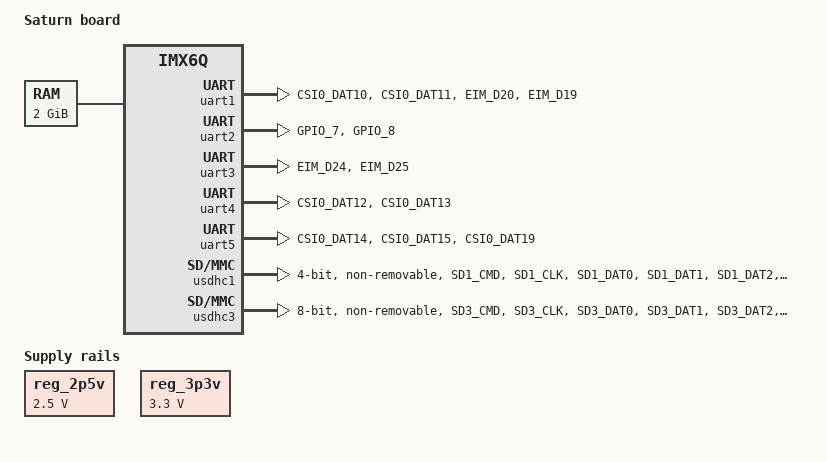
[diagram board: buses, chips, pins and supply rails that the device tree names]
/dts-v1/;
#include "imx6q.dtsi"
#include <dt-bindings/gpio/gpio.h>

/ {
	model = "Saturn board";
	compatible = "fsl,imx6q";

	memory {
		reg = <0x10000000 0x80000000>;
	};

    regulators {
	compatible = "simple-bus";
	#address-cells = <1>;
	#size-cells = <0>;

		reg_2p5v: regulator@0 {
			compatible = "regulator-fixed";
			reg = <0>;
			regulator-name = "2P5V";
			regulator-min-microvolt = <2500000>;
			regulator-max-microvolt = <2500000>;
			regulator-always-on;
		};

		reg_3p3v: regulator@1 {
			compatible = "regulator-fixed";
			reg = <1>;
			regulator-name = "3P3V";
			regulator-min-microvolt = <3300000>;
			regulator-max-microvolt = <3300000>;
			regulator-always-on;
		};
	};

};

&iomuxc {
	pinctrl-names = "default";

	imx6qdl-saturn {

        pinctrl_uart1: uart1grp {
			fsl,pins = <
				MX6QDL_PAD_CSI0_DAT10__UART1_TX_DATA	0x1b0b1
				MX6QDL_PAD_CSI0_DAT11__UART1_RX_DATA	0x1b0b1
				MX6QDL_PAD_EIM_D20__UART1_RTS_B			0x1b0b1
				MX6QDL_PAD_EIM_D19__UART1_CTS_B			0x1b0b1
			>;
		};
		
		pinctrl_uart2: uart2grp {
			fsl,pins = <
				MX6QDL_PAD_GPIO_7__UART2_TX_DATA	    0x1b0b1
				MX6QDL_PAD_GPIO_8__UART2_RX_DATA		0x1b0b1
			>;
		};
		
		pinctrl_uart3: uart3grp {
			fsl,pins = <
				MX6QDL_PAD_EIM_D24__UART3_TX_DATA	0x1b0b1
				MX6QDL_PAD_EIM_D25__UART3_RX_DATA	0x1b0b1
			>;
		};
		
		pinctrl_uart4: uart4grp {
			fsl,pins = <
				MX6QDL_PAD_CSI0_DAT12__UART4_TX_DATA	0x1b0b1
				MX6QDL_PAD_CSI0_DAT13__UART4_RX_DATA	0x1b0b1
			>;
		};
		
		pinctrl_uart5: uart5grp {
			fsl,pins = <
				MX6QDL_PAD_CSI0_DAT14__UART5_TX_DATA	0x1b0b1
				MX6QDL_PAD_CSI0_DAT15__UART5_RX_DATA	0x1b0b1
				//MX6QDL_PAD_EIM_D19__UART1_CTS_B		0x1b0b1
				MX6QDL_PAD_CSI0_DAT19__GPIO6_IO05		0x1b0b1
			>;
		};

		pinctrl_usdhc1: usdhc1grp {
			fsl,pins = <
				MX6QDL_PAD_SD1_CMD__SD1_CMD			0x17059
				MX6QDL_PAD_SD1_CLK__SD1_CLK			0x10059
				MX6QDL_PAD_SD1_DAT0__SD1_DATA0		0x17059
				MX6QDL_PAD_SD1_DAT1__SD1_DATA1		0x17059
				MX6QDL_PAD_SD1_DAT2__SD1_DATA2		0x17059
				MX6QDL_PAD_SD1_DAT3__SD1_DATA3		0x17059
				MX6QDL_PAD_GPIO_1__SD1_CD_B			0x17059
				MX6QDL_PAD_GPIO_9__SD1_WP			0x17059
			>;
		};

		pinctrl_usdhc3: usdhc3grp {
			fsl,pins = <
				MX6QDL_PAD_SD3_CMD__SD3_CMD			0x17059
				MX6QDL_PAD_SD3_CLK__SD3_CLK			0x10059
				MX6QDL_PAD_SD3_DAT0__SD3_DATA0		0x17059
				MX6QDL_PAD_SD3_DAT1__SD3_DATA1		0x17059
				MX6QDL_PAD_SD3_DAT2__SD3_DATA2		0x17059
				MX6QDL_PAD_SD3_DAT3__SD3_DATA3		0x17059
				MX6QDL_PAD_SD3_DAT4__SD3_DATA4		0x17059
				MX6QDL_PAD_SD3_DAT5__SD3_DATA5		0x17059
				MX6QDL_PAD_SD3_DAT6__SD3_DATA6		0x17059
				MX6QDL_PAD_SD3_DAT7__SD3_DATA7		0x17059
				MX6QDL_PAD_SD3_RST__SD3_RESET		0x17059
				MX6QDL_PAD_GPIO_18__SD3_VSELECT		0x17059
			>;
		};
		
		pinctrl_stim300: stim300grp {
			fsl,pins = <
				MX6QDL_PAD_EIM_BCLK__GPIO6_IO31		0x180B1 //TOV - input
				MX6QDL_PAD_GPIO_19__GPIO4_IO05 		0x180B1 //ExtTrig - output. 1
				MX6QDL_PAD_DISP0_DAT9__GPIO4_IO30   0x180B1 //Reset - output.   1
			>;
		};
		
		pinctrl_gps: gpsgrp {
			fsl,pins = <
				MX6QDL_PAD_DISP0_DAT12__GPIO5_IO06  0x180B1 //PPS_1 input
				MX6QDL_PAD_DISP0_DAT13__GPIO5_IO07  0x180B1 //PPS_2 input
			>;
		};
		
		pinctrl_misc_gpios: miscgpios {
			fsl,pins = <
				MX6QDL_PAD_DISP0_DAT14__GPIO5_IO08 0x180B1 //OUT_IO_1 1<<16 | 2<<6|6<<3|1<<0|2<<14
				MX6QDL_PAD_DISP0_DAT15__GPIO5_IO09 0x180B1 //OUT_IO_2
				MX6QDL_PAD_DISP0_DAT16__GPIO5_IO10 0x180B1 //OUT_IO_3
				MX6QDL_PAD_DISP0_DAT17__GPIO5_IO11 0x180B1 //OUT_IO_4
				MX6QDL_PAD_DISP0_DAT18__GPIO5_IO12 0x180B1 //OUT_RST
				
				MX6QDL_PAD_EIM_A25__GPIO5_IO02 0x180B1 //mpu9250 int
				MX6QDL_PAD_EIM_D23__GPIO3_IO23 0x180B1 //fsync
				
				MX6QDL_PAD_DISP0_DAT5__GPIO4_IO26 0x180B1 //ADIS DIO1
				MX6QDL_PAD_DISP0_DAT6__GPIO4_IO27 0x180B1 //ADIS DIO2
				MX6QDL_PAD_DISP0_DAT7__GPIO4_IO28 0x180B1 //ADIS DIO3
				
				MX6QDL_PAD_EIM_D26__GPIO3_IO26 0x180B1 //gpio_res_1
				MX6QDL_PAD_EIM_D27__GPIO3_IO27 0x180B1 //gpio_res_2
				MX6QDL_PAD_EIM_D30__GPIO3_IO30 0x180B1 //gpio_res_3
				MX6QDL_PAD_EIM_D31__GPIO3_IO31 0x180B1 //gpio_res_4
				
				MX6QDL_PAD_GPIO_0__GPIO1_IO00  0x180B1 //gpio_res_5
				MX6QDL_PAD_GPIO_2__GPIO1_IO02  0x180B1 //gpio_res_6
				MX6QDL_PAD_GPIO_3__GPIO1_IO03  0x180B1 //gpio_res_7
				MX6QDL_PAD_GPIO_4__GPIO1_IO04  0x180B1 //gpio_res_8
				
				MX6QDL_PAD_GPIO_16__GPIO7_IO11  0x180B1 //gpio_res_9
				MX6QDL_PAD_GPIO_17__GPIO7_IO12  0x180B1 //gpio_res_10
				
														 //0x100B1 - 1<<16 | 2 << 6 | 6 << 3 | 1<< 0 
				MX6QDL_PAD_KEY_COL2__ECSPI1_SS1 0x0100B1 //used for memory purposes. see pinout.ods for details.
			>;
		};
	};
};



&uart1 {
	pinctrl-names = "default";
	pinctrl-0 = <&pinctrl_uart1>;
	status = "okay";
};

&uart2 {
	pinctrl-names = "default";
	pinctrl-0 = <&pinctrl_uart2>;
	status = "okay";
};

&uart3 {
	pinctrl-names = "default";
	pinctrl-0 = <&pinctrl_uart3>;
	status = "okay";
};

&uart4 {
	pinctrl-names = "default";
	pinctrl-0 = <&pinctrl_uart4>;
	status = "okay";
};

&uart5 {
	pinctrl-names = "default";
	pinctrl-0 = <&pinctrl_uart5>;
	rs485_txen-gpios = <&gpio5 5 GPIO_ACTIVE_HIGH>;
	status = "okay";
};


&usdhc1 {
	pinctrl-names = "default";
	pinctrl-0     = <&pinctrl_usdhc1>;
	non-removable;
	fsl,wp-controller;
	keep-power-in-suspend;
	bus-width     = <4>;
	max-frequency = <50000000>;
	status = "okay";
};

&usdhc3 {
	pinctrl-names = "default";
	pinctrl-0 = <&pinctrl_usdhc3>;
	non-removable;
	fsl,wp-controller;
	keep-power-in-suspend;
	bus-width     = <8>;
	max-frequency = <50000000>;
	status = "okay";
};




